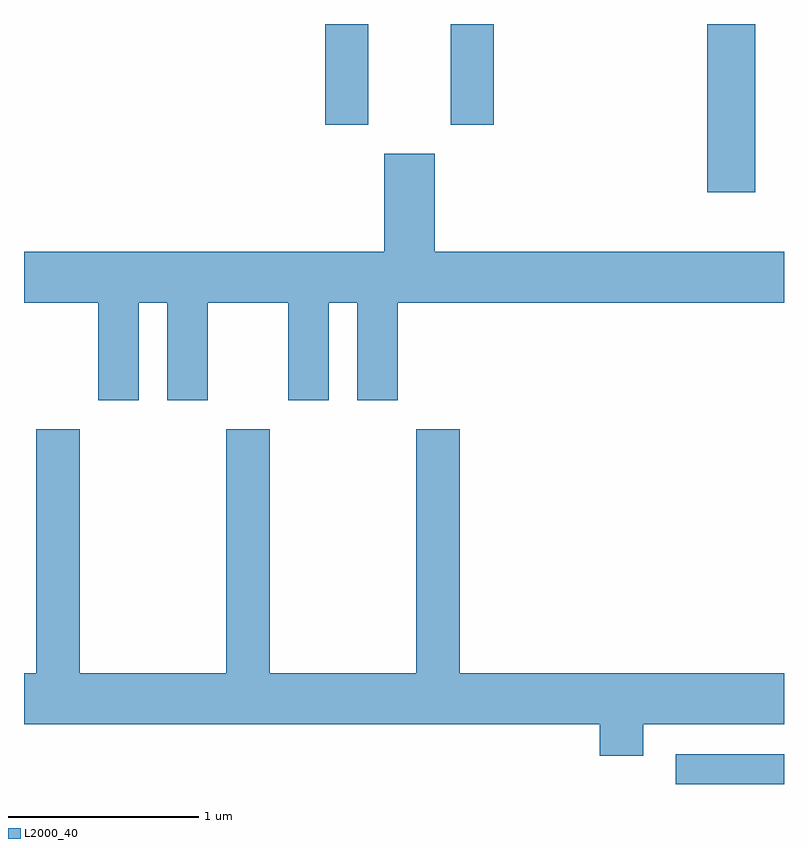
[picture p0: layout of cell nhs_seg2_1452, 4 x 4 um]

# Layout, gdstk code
import gdstk
lib = gdstk.Library(unit=1e-6, precision=1e-09)
def R(c, l, rs):  # rectangles x0, y0, x1, y1
    for r in rs: c.add(gdstk.rectangle(r[:2], r[2:], *l))
def P(c, l, *ps):  # polygons
    for p in ps: c.add(gdstk.Polygon(p, *l))
L2000_40 = (2000, 40)

nhs_seg2_1452 = lib.new_cell('nhs_seg2_1452')
R(nhs_seg2_1452, L2000_40, [(231.041,1025.802,231.611,1025.959), (231.206,1028.916,231.459,1029.802), (229.196,1029.271,229.424,1029.802), (229.856,1029.271,230.084,1029.802)])
P(nhs_seg2_1452, L2000_40, [(228.214,1028.336),(228.366,1028.336),(228.366,1027.821),(228.579,1027.821),(228.579,1028.336),(229.001,1028.336),(229.001,1027.821),(229.214,1027.821),(229.214,1028.336),(229.366,1028.336),(229.366,1027.821),(229.579,1027.821),(229.579,1028.336),(231.611,1028.336),(231.611,1028.604),(229.774,1028.604),(229.774,1029.119),(229.506,1029.119),(229.506,1028.604),(227.611,1028.604),(227.611,1028.336),(228.001,1028.336),(228.001,1027.821),(228.214,1027.821)],
  [(230.869,1026.116),(231.611,1026.116),(231.611,1026.384),(229.904,1026.384),(229.904,1027.669),(229.676,1027.669),(229.676,1026.384),(228.904,1026.384),(228.904,1027.669),(228.676,1027.669),(228.676,1026.384),(227.904,1026.384),(227.904,1027.669),(227.676,1027.669),(227.676,1026.384),(227.611,1026.384),(227.611,1026.116),(230.641,1026.116),(230.641,1025.951),(230.869,1025.951)])

lib.write_gds('nhs_seg2_1452.gds')
